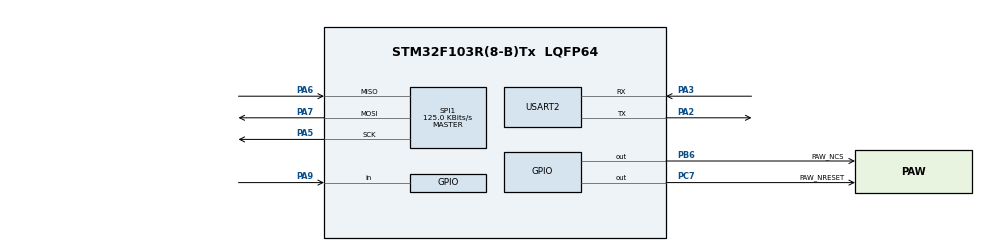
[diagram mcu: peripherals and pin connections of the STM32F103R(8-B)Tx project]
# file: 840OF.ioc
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Mcu.Family=STM32F1
Mcu.Name=STM32F103R(8-B)Tx
Mcu.Package=LQFP64
NVIC.PriorityGroup=NVIC_PRIORITYGROUP_4
PA2.Mode=Asynchronous
PA2.Signal=USART2_TX
PA3.Mode=Asynchronous
PA3.Signal=USART2_RX
PA5.Mode=Full_Duplex_Master
PA5.Signal=SPI1_SCK
PA6.Mode=Full_Duplex_Master
PA6.Signal=SPI1_MISO
PA7.Mode=Full_Duplex_Master
PA7.Signal=SPI1_MOSI
PA9.GPIO_PuPd=GPIO_NOPULL
PA9.Signal=GPIO_Input
PB6.GPIO_Label=PAW_NCS
PB6.GPIO_PuPd=GPIO_PULLUP
PB6.PinState=GPIO_PIN_SET
PB6.Signal=GPIO_Output
PC7.GPIO_Label=PAW_NRESET
PC7.GPIO_PuPd=GPIO_PULLUP
PC7.GPIO_Speed=GPIO_SPEED_FREQ_HIGH
PC7.Signal=GPIO_Output
ProjectManager.HeapSize=0x200
ProjectManager.StackSize=0x400
ProjectManager.TargetToolchain=STM32CubeIDE
RCC.APB1Freq_Value=8000000
RCC.APB2Freq_Value=8000000
SPI1.BaudRatePrescaler=SPI_BAUDRATEPRESCALER_64
SPI1.CLKPhase=SPI_PHASE_2EDGE
SPI1.CLKPolarity=SPI_POLARITY_HIGH
SPI1.CalculateBaudRate=125.0 KBits/s
SPI1.Direction=SPI_DIRECTION_2LINES
SPI1.Mode=SPI_MODE_MASTER
SPI1.VirtualType=VM_MASTER
USART2.VirtualMode=VM_ASYNC
VP_SYS_VS_ND.Mode=No_Debug
board=custom

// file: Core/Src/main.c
/* USER CODE BEGIN Header */
/**
  ******************************************************************************
  * @file           : main.c
  * @brief          : Main program body
  ******************************************************************************
  * @attention
  *
  * Copyright (c) 2026 STMicroelectronics.
  * All rights reserved.
  *
  * This software is licensed under terms that can be found in the LICENSE file
  * in the root directory of this software component.
  * If no LICENSE file comes with this software, it is provided AS-IS.
  *
  ******************************************************************************
  */
/* USER CODE END Header */
#include "main.h"

/* USER CODE BEGIN Includes */
#include <stdio.h>
#include "paw3902_init.h"
/* USER CODE END Includes */

SPI_HandleTypeDef hspi1;

UART_HandleTypeDef huart2;

void SystemClock_Config(void);
static void MX_GPIO_Init(void);
static void MX_SPI1_Init(void);
static void MX_USART2_UART_Init(void);

/* USER CODE BEGIN 0 */
static void DWT_Init(void) {
    CoreDebug->DEMCR |= CoreDebug_DEMCR_TRCENA_Msk;
    DWT->CYCCNT = 0;
    DWT->CTRL |= DWT_CTRL_CYCCNTENA_Msk;
}

static void delay_us(uint32_t us) {
    uint32_t start = DWT->CYCCNT;
    uint32_t ticks = us * (SystemCoreClock / 1000000U);
    while ((DWT->CYCCNT - start) < ticks) { }
}

#define PAW_CS_LOW()   HAL_GPIO_WritePin(PAW_NCS_GPIO_Port, PAW_NCS_Pin, GPIO_PIN_RESET)
#define PAW_CS_HIGH()  HAL_GPIO_WritePin(PAW_NCS_GPIO_Port, PAW_NCS_Pin, GPIO_PIN_SET)

static void paw_write(uint8_t reg, uint8_t val) {
    uint8_t tx[2] = { (uint8_t)(reg | 0x80u), val };   // MSB set = write
    PAW_CS_LOW();
    delay_us(1);                     // tNCS-SCLK, 120 ns min
    HAL_SPI_Transmit(&hspi1, tx, 2, 100);
    delay_us(2);                     // tSCLK-NCS write, 2 us min
    PAW_CS_HIGH();
    delay_us(11);                    // tSWW, 10.5 us min
}

static uint8_t paw_read(uint8_t reg) {
    uint8_t addr = (uint8_t)(reg & 0x7Fu);   // MSB clear = read
    uint8_t val  = 0;
    PAW_CS_LOW();
    delay_us(1);
    HAL_SPI_Transmit(&hspi1, &addr, 1, 100);
    delay_us(2);                     // tSRAD, 2 us min  <-- critical
    HAL_SPI_Receive(&hspi1, &val, 1, 100);
    delay_us(1);                     // tSCLK-NCS read
    PAW_CS_HIGH();
    delay_us(2);                     // tSRW / tSRR, 1.5 us min
    return val;
}
static void paw_burst(paw_burst_t *b) {
    uint8_t cmd = PAW_REG_MOTION_BURST;
    PAW_CS_LOW();
    delay_us(1);
    HAL_SPI_Transmit(&hspi1, &cmd, 1, 100);
    delay_us(2);                                  // tSRAD
    HAL_SPI_Receive(&hspi1, (uint8_t*)b, 12, 100);
    delay_us(1);
    PAW_CS_HIGH();
    delay_us(2);
}

static void paw3902_configure(void) {
    for (uint32_t i = 0; i < PAW3902_BRIGHT_MODE_LEN; i++) {
        if (paw3902_bright_mode[i].reg == PAW_DELAY) {
            HAL_Delay(paw3902_bright_mode[i].val);
        } else {
            paw_write(paw3902_bright_mode[i].reg, paw3902_bright_mode[i].val);
        }
    }
}
int _write(int file, char *ptr, int len) {
    HAL_UART_Transmit(&huart2, (uint8_t*)ptr, len, HAL_MAX_DELAY);
    return len;
}
/* USER CODE END 0 */

int main(void)
{

  /* MCU Configuration--------------------------------------------------------*/

  /* Reset of all peripherals, Initializes the Flash interface and the Systick. */
  HAL_Init();

  /* Configure the system clock */
  SystemClock_Config();

  /* Initialize all configured peripherals */
  MX_GPIO_Init();
  MX_SPI1_Init();
  MX_USART2_UART_Init();
  /* USER CODE BEGIN 2 */
  DWT_Init();
  setvbuf(stdout, NULL, _IONBF, 0);
  printf("\r\n--- PAW3902 bring-up ---\r\n");

  HAL_GPIO_WritePin(PAW_NRESET_GPIO_Port, PAW_NRESET_Pin, GPIO_PIN_RESET);
  HAL_Delay(1);
  HAL_GPIO_WritePin(PAW_NRESET_GPIO_Port, PAW_NRESET_Pin, GPIO_PIN_SET);
  HAL_Delay(50);                                  // tMOT-RST

  paw_write(PAW_REG_POWER_UP_RESET, 0x5A);        // soft reset
  HAL_Delay(5);

  uint8_t id = paw_read(PAW_REG_PRODUCT_ID);
  printf("Product ID = 0x%02X %s\r\n",
         id, (id == PAW_PRODUCT_ID) ? "OK" : "BAD");

  // required after reset: read 0x02-0x06 once to clear
  for (uint8_t r = 0x02; r <= 0x06; r++) { paw_read(r); }

  paw3902_configure();
  printf("Bright mode configured (%lu writes)\r\n",
         (unsigned long)PAW3902_BRIGHT_MODE_LEN);                       // tMOT-RST
  /* USER CODE END 2 */

  /* Infinite loop */
  while (1)
  {

    /* USER CODE BEGIN 3 */
	    paw_burst_t b;
	    paw_burst(&b);

	    int16_t dx = (int16_t)((b.delta_x_h << 8) | b.delta_x_l);
	    int16_t dy = (int16_t)((b.delta_y_h << 8) | b.delta_y_l);

	    printf("MOT=%c  dX=%6d  dY=%6d  SQUAL=%3u  SHUT=%5u\r\n",
	           (b.motion & PAW_MOTION_MOT_BIT) ? 'Y' : '.',
	           dx, dy, b.squal,
	           (unsigned)((b.shutter_upper << 8) | b.shutter_lower));

	    HAL_Delay(100);
  }
  /* USER CODE END 3 */
}

void SystemClock_Config(void)
{
  RCC_OscInitTypeDef RCC_OscInitStruct = {0};
  RCC_ClkInitTypeDef RCC_ClkInitStruct = {0};

  /** Initializes the RCC Oscillators according to the specified parameters
  * in the RCC_OscInitTypeDef structure.
  */
  RCC_OscInitStruct.OscillatorType = RCC_OSCILLATORTYPE_HSI;
  RCC_OscInitStruct.HSIState = RCC_HSI_ON;
  RCC_OscInitStruct.HSICalibrationValue = RCC_HSICALIBRATION_DEFAULT;
  RCC_OscInitStruct.PLL.PLLState = RCC_PLL_NONE;
  if (HAL_RCC_OscConfig(&RCC_OscInitStruct) != HAL_OK)
  {
    Error_Handler();
  }

  /** Initializes the CPU, AHB and APB buses clocks
  */
  RCC_ClkInitStruct.ClockType = RCC_CLOCKTYPE_HCLK|RCC_CLOCKTYPE_SYSCLK
                              |RCC_CLOCKTYPE_PCLK1|RCC_CLOCKTYPE_PCLK2;
  RCC_ClkInitStruct.SYSCLKSource = RCC_SYSCLKSOURCE_HSI;
  RCC_ClkInitStruct.AHBCLKDivider = RCC_SYSCLK_DIV1;
  RCC_ClkInitStruct.APB1CLKDivider = RCC_HCLK_DIV1;
  RCC_ClkInitStruct.APB2CLKDivider = RCC_HCLK_DIV1;

  if (HAL_RCC_ClockConfig(&RCC_ClkInitStruct, FLASH_LATENCY_0) != HAL_OK)
  {
    Error_Handler();
  }
}

static void MX_SPI1_Init(void)
{

  /* SPI1 parameter configuration*/
  hspi1.Instance = SPI1;
  hspi1.Init.Mode = SPI_MODE_MASTER;
  hspi1.Init.Direction = SPI_DIRECTION_2LINES;
  hspi1.Init.DataSize = SPI_DATASIZE_8BIT;
  hspi1.Init.CLKPolarity = SPI_POLARITY_HIGH;
  hspi1.Init.CLKPhase = SPI_PHASE_2EDGE;
  hspi1.Init.NSS = SPI_NSS_SOFT;
  hspi1.Init.BaudRatePrescaler = SPI_BAUDRATEPRESCALER_64;
  hspi1.Init.FirstBit = SPI_FIRSTBIT_MSB;
  hspi1.Init.TIMode = SPI_TIMODE_DISABLE;
  hspi1.Init.CRCCalculation = SPI_CRCCALCULATION_DISABLE;
  hspi1.Init.CRCPolynomial = 10;
  if (HAL_SPI_Init(&hspi1) != HAL_OK)
  {
    Error_Handler();
  }

}

static void MX_USART2_UART_Init(void)
{

  huart2.Instance = USART2;
  huart2.Init.BaudRate = 115200;
  huart2.Init.WordLength = UART_WORDLENGTH_8B;
  huart2.Init.StopBits = UART_STOPBITS_1;
  huart2.Init.Parity = UART_PARITY_NONE;
  huart2.Init.Mode = UART_MODE_TX_RX;
  huart2.Init.HwFlowCtl = UART_HWCONTROL_NONE;
  huart2.Init.OverSampling = UART_OVERSAMPLING_16;
  if (HAL_UART_Init(&huart2) != HAL_OK)
  {
    Error_Handler();
  }

}

static void MX_GPIO_Init(void)
{
  GPIO_InitTypeDef GPIO_InitStruct = {0};

  /* GPIO Ports Clock Enable */
  __HAL_RCC_GPIOA_CLK_ENABLE();
  __HAL_RCC_GPIOC_CLK_ENABLE();
  __HAL_RCC_GPIOB_CLK_ENABLE();

  /*Configure GPIO pin Output Level */
  HAL_GPIO_WritePin(PAW_NRESET_GPIO_Port, PAW_NRESET_Pin, GPIO_PIN_RESET);

  /*Configure GPIO pin Output Level */
  HAL_GPIO_WritePin(PAW_NCS_GPIO_Port, PAW_NCS_Pin, GPIO_PIN_SET);

  /*Configure GPIO pin : PAW_NRESET_Pin */
  GPIO_InitStruct.Pin = PAW_NRESET_Pin;
  GPIO_InitStruct.Mode = GPIO_MODE_OUTPUT_PP;
  GPIO_InitStruct.Pull = GPIO_PULLUP;
  GPIO_InitStruct.Speed = GPIO_SPEED_FREQ_HIGH;
  HAL_GPIO_Init(PAW_NRESET_GPIO_Port, &GPIO_InitStruct);

  /*Configure GPIO pin : PA9 */
  GPIO_InitStruct.Pin = GPIO_PIN_9;
  GPIO_InitStruct.Mode = GPIO_MODE_INPUT;
  GPIO_InitStruct.Pull = GPIO_NOPULL;
  HAL_GPIO_Init(GPIOA, &GPIO_InitStruct);

  /*Configure GPIO pin : PAW_NCS_Pin */
  GPIO_InitStruct.Pin = PAW_NCS_Pin;
  GPIO_InitStruct.Mode = GPIO_MODE_OUTPUT_PP;
  GPIO_InitStruct.Pull = GPIO_PULLUP;
  GPIO_InitStruct.Speed = GPIO_SPEED_FREQ_LOW;
  HAL_GPIO_Init(PAW_NCS_GPIO_Port, &GPIO_InitStruct);

}

void Error_Handler(void)
{
  __disable_irq();
  while (1)
  {
  }
}
